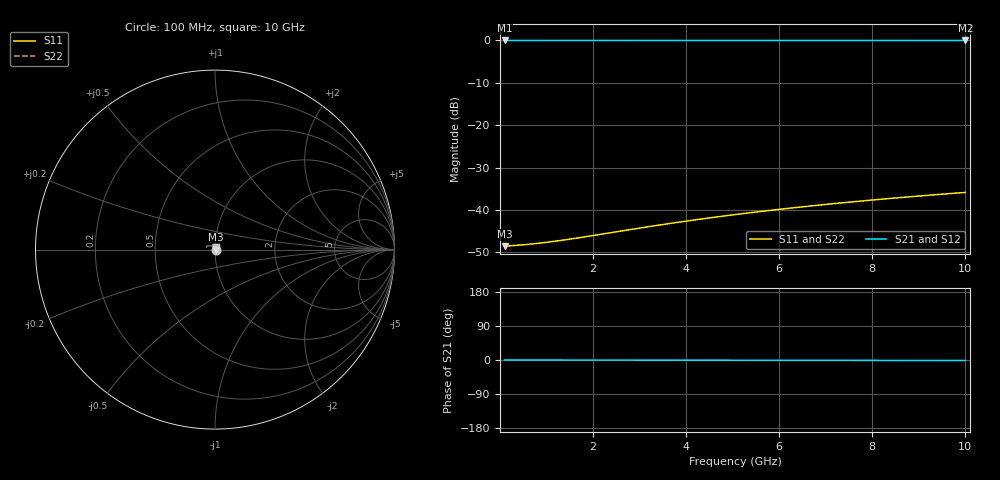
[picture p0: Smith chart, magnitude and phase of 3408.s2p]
# Hz S RI R 50.00
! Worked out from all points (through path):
!   100 points, 100 MHz to 10 GHz, reference 50 ohm
!   highest |S21| = -0.03 dB at 100 MHz (marker M1); lowest = 0.0 dB at 10 GHz (marker M2)
!   lowest |S11| = -48.5 dB at 100 MHz (marker M3), VSWR 1.01, Z = 50.4 + j0.0156 ohm
!   |S11| at or under -10 dB: start of sweep to end of sweep
!   |S22| runs from -48.5 to -35.9 dB; largest |S21 - S12| = 0
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1e8  0.00374 0.000155  0.9963 -0.00022  0.9963 -0.00022  0.00374 0.000155
5e8  0.00381 0.000775  0.9962 -0.0011  0.9962 -0.0011  0.00381 0.000775
7e8  0.00383 0.00108  0.9962 -0.00154  0.9962 -0.00154  0.00383 0.00108
9e8  0.00385 0.00139  0.9961 -0.00198  0.9961 -0.00198  0.00385 0.00139
1.1e9  0.00387 0.0017  0.9961 -0.00242  0.9961 -0.00242  0.00387 0.0017
1.3e9  0.00388 0.00201  0.9961 -0.00286  0.9961 -0.00286  0.00388 0.00201
1.5e9  0.00389 0.00232  0.9961 -0.0033  0.9961 -0.0033  0.00389 0.00232
1.8e9  0.00391 0.00279  0.9961 -0.00396  0.9961 -0.00396  0.00391 0.00279
2.9e9  0.00397 0.00449  0.996 -0.00637  0.996 -0.00637  0.00397 0.00449
3.4e9  0.00399 0.00527  0.996 -0.00747  0.996 -0.00747  0.00399 0.00527
3.8e9  0.00401 0.00589  0.996 -0.00835  0.996 -0.00835  0.00401 0.00589
4.2e9  0.00404 0.00651  0.996 -0.00923  0.996 -0.00923  0.00404 0.00651
4.6e9  0.00406 0.00713  0.9959 -0.0101  0.9959 -0.0101  0.00406 0.00713
5.1e9  0.00408 0.0079  0.9959 -0.0112  0.9959 -0.0112  0.00408 0.0079
5.5e9  0.00411 0.00852  0.9959 -0.0121  0.9959 -0.0121  0.00411 0.00852
5.9e9  0.00413 0.00914  0.9959 -0.013  0.9959 -0.013  0.00413 0.00914
6.3e9  0.00415 0.00976  0.9958 -0.0138  0.9958 -0.0138  0.00415 0.00976
6.7e9  0.00418 0.0104  0.9958 -0.0147  0.9958 -0.0147  0.00418 0.0104
7.5e9  0.00423 0.0116  0.9958 -0.0165  0.9958 -0.0165  0.00423 0.0116
8.4e9  0.0043 0.013  0.9957 -0.0185  0.9957 -0.0185  0.0043 0.013
9.2e9  0.00436 0.0142  0.9956 -0.0202  0.9956 -0.0202  0.00436 0.0142
1e10  0.00442 0.0155  0.9955 -0.022  0.9955 -0.022  0.00442 0.0155
